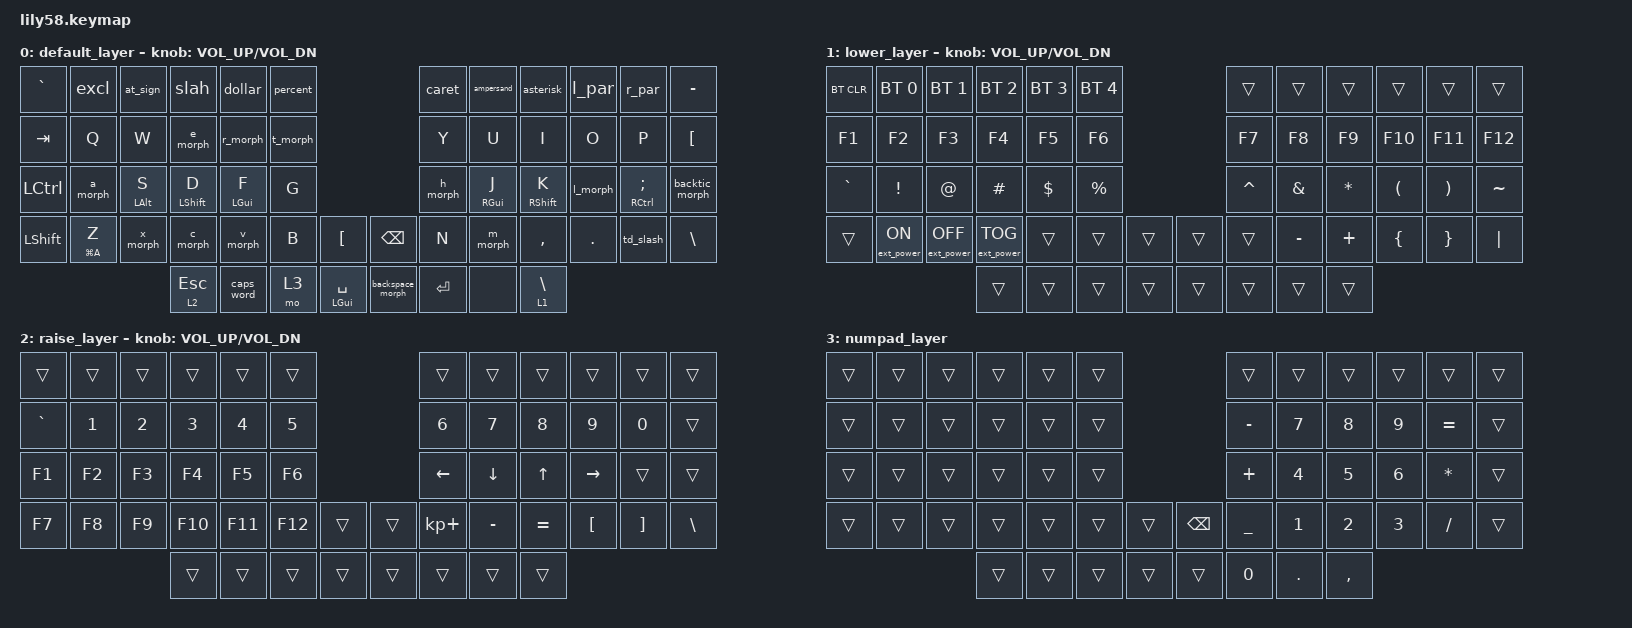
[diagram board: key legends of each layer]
/*
 * Copyright (c) 2020 The ZMK Contributors
 *
 * SPDX-License-Identifier: MIT
 */

#include <behaviors.dtsi>
#include <dt-bindings/zmk/bt.h>
#include <dt-bindings/zmk/ext_power.h>
#include <dt-bindings/zmk/keys.h>

// https://github.com/urob/zmk-config?tab=readme-ov-file#timeless-homerow-mods
// https://github.com/zmkfirmware/zmk/issues/544

#define LILY58_STANDARD_LABELS

#include "zmk-helpers/key-labels/lily58.h"

#define KEYS_L LN0 LN1 LN2 LN3 LN4 LN5 LT0 LT1 LT2 LT3 LT4 LT5 LM0 LM1 LM2 LM3 LM4 LM5 LB0 LB1 LB2 LB3 LB4 LB5 LEC
#define KEYS_R RN0 RN1 RN2 RN3 RN4 RN5 RT0 RT1 RT2 RT3 RT4 RT5 RM0 RM1 RM2 RM3 RM4 RM5 RB0 RB1 RB2 RB3 RB4 RB5 REC
#define THUMBS LH3 LH2 LH1 LH0 RH0 RH1 RH2 RH3

/ {
    combos {
        compatible = "zmk,combos";

        combo_left_bracket {
            bindings = <&kp LEFT_BRACKET>;
            key-positions = <19 20>;
            timeout-ms = <50>;
        };

        combo_right_bracket {
            bindings = <&kp RIGHT_BRACKET>;
            key-positions = <21 20>;
            timeout-ms = <50>;
        };

        combo_pipe {
            bindings = <&macro_pipe>;
            key-positions = <47 48>;
        };

        combo_chrome_tab_next {
            bindings = <&kp LC(TAB)>;
            key-positions = <16 15>;
        };

        combo_chrome_tab_prev {
            bindings = <&kp LC(LS(TAB))>;
            key-positions = <14 15>;
        };
    };

    behaviors {
        /* Left-hand HRMs. */

        hml: hml {
            compatible = "zmk,behavior-hold-tap";
            #binding-cells = <2>;
            flavor = "balanced";
            tapping-term-ms = <280>;
            quick-tap-ms = <175>;
            require-prior-idle-ms = <150>;
            bindings = <&kp>, <&kp>;

            hold-trigger-key-positions = <KEYS_R THUMBS>;
            hold-trigger-on-release;
        };

        /* Right-hand HRMs. */

        hmr: hmr {
            compatible = "zmk,behavior-hold-tap";
            #binding-cells = <2>;
            flavor = "balanced";
            tapping-term-ms = <280>;
            quick-tap-ms = <175>;
            require-prior-idle-ms = <150>;
            bindings = <&kp>, <&kp>;

            hold-trigger-key-positions = <KEYS_L THUMBS>;
            hold-trigger-on-release;
        };

        backspace_morph: backspace_morph {
            compatible = "zmk,behavior-mod-morph";
            label = "BACKSPACE_MORPH";
            bindings = <&hmr RGUI SPACE>, <&kp BACKSPACE>;

            #binding-cells = <0>;
            mods = <(MOD_LCTL|MOD_LALT)>;
            keep-mods = <(MOD_LALT)>;
        };

        td_slash: td_slash {
            compatible = "zmk,behavior-tap-dance";
            label = "TD_SLASH";
            #binding-cells = <0>;
            bindings = <&kp SLASH>, <&kp PIPE>;
        };

        backtic_morph: backtic_morph {
            compatible = "zmk,behavior-mod-morph";
            label = "BACKTIC_MORPH";
            bindings = <&kp SQT>, <&kp GRAVE>;

            #binding-cells = <0>;
            mods = <(MOD_LALT)>;
        };

        excl: n1_morph {
            compatible = "zmk,behavior-mod-morph";
            label = "EXCL";
            bindings = <&kp EXCLAMATION>, <&kp KP_NUMBER_1>;

            #binding-cells = <0>;
            mods = <(MOD_LSFT|MOD_RSFT)>;
        };

        at_sign: n2_morph {
            compatible = "zmk,behavior-mod-morph";
            label = "@";
            bindings = <&kp AT>, <&kp KP_NUMBER_2>;

            #binding-cells = <0>;
            mods = <(MOD_LSFT|MOD_RSFT)>;
        };

        slah: n3_morph {
            compatible = "zmk,behavior-mod-morph";
            label = "#";
            bindings = <&kp HASH>, <&kp KP_NUMBER_3>;

            #binding-cells = <0>;
            mods = <(MOD_LSFT|MOD_RSFT)>;
        };

        dollar: n4_morph {
            compatible = "zmk,behavior-mod-morph";
            label = "$";
            bindings = <&kp DOLLAR>, <&kp KP_NUMBER_4>;

            #binding-cells = <0>;
            mods = <(MOD_LSFT|MOD_RSFT)>;
        };

        percent: n5_morph {
            compatible = "zmk,behavior-mod-morph";
            label = "%";
            bindings = <&kp PERCENT>, <&kp KP_NUMBER_6>;

            #binding-cells = <0>;
            mods = <(MOD_LSFT|MOD_RSFT)>;
        };

        caret: n6_morph {
            compatible = "zmk,behavior-mod-morph";
            label = "^";
            bindings = <&kp CARET>, <&kp KP_NUMBER_6>;

            #binding-cells = <0>;
            mods = <(MOD_LSFT|MOD_RSFT)>;
        };

        ampersand: n7_moprh {
            compatible = "zmk,behavior-mod-morph";
            label = "&";
            bindings = <&kp AMPERSAND>, <&kp KP_NUMBER_7>;

            #binding-cells = <0>;
            mods = <(MOD_LSFT|MOD_RSFT)>;
        };

        asterisk: n8_moprh {
            compatible = "zmk,behavior-mod-morph";
            label = "*";
            bindings = <&kp STAR>, <&kp KP_NUMBER_8>;

            #binding-cells = <0>;
            mods = <(MOD_LSFT|MOD_RSFT)>;
        };

        l_par: n9_morph {
            compatible = "zmk,behavior-mod-morph";
            label = "(";
            bindings = <&kp LEFT_PARENTHESIS>, <&kp KP_NUMBER_9>;

            #binding-cells = <0>;
            mods = <(MOD_LSFT|MOD_RSFT)>;
        };

        r_par: n0_morph {
            compatible = "zmk,behavior-mod-morph";
            label = ")";
            bindings = <&kp RIGHT_PARENTHESIS>, <&kp KP_NUMBER_0>;

            #binding-cells = <0>;
            mods = <(MOD_LSFT|MOD_RSFT)>;
        };

        x_morph: x_morph {
            compatible = "zmk,behavior-mod-morph";
            label = "X_MORPH";
            bindings = <&mt LG(X) X>, <&kp LG(X)>;

            #binding-cells = <0>;
            mods = <(MOD_LCTL)>;
        };

        c_morph: c_morph {
            compatible = "zmk,behavior-mod-morph";
            label = "C_MORPH";
            bindings = <&mt LG(C) C>, <&kp LG(C)>;

            #binding-cells = <0>;
            mods = <(MOD_LCTL)>;
        };

        v_morph: v_morph {
            compatible = "zmk,behavior-mod-morph";
            label = "V_MORPH";
            bindings = <&mt LG(V) V>, <&kp LG(V)>;

            #binding-cells = <0>;
            mods = <(MOD_LCTL)>;
        };

        a_morph: a_morph {
            compatible = "zmk,behavior-mod-morph";
            label = "A_MORPH";
            bindings = <&hml LCTRL A>, <&kp LG(A)>;

            #binding-cells = <0>;
            mods = <(MOD_LCTL)>;
        };

        r_morph: r_morph {
            compatible = "zmk,behavior-mod-morph";
            label = "R_MORPH";
            bindings = <&hml LALT R>, <&kp LC(TAB)>;

            #binding-cells = <0>;
            mods = <(MOD_LCTL)>;
        };

        h_morph: h_morph {
            compatible = "zmk,behavior-mod-morph";
            label = "H_MORPH";
            bindings = <&kp H>, <&macro_vim_prev_tab>;

            #binding-cells = <0>;
            mods = <(MOD_LALT)>;
        };

        l_morph: l_morph {
            compatible = "zmk,behavior-mod-morph";
            label = "L_MORPH";
            bindings = <&hmr RALT L>, <&macro_vim_tab_next>;

            #binding-cells = <0>;
            mods = <(MOD_LALT)>;
        };

        e_morph: e_morph {
            compatible = "zmk,behavior-mod-morph";
            label = "E_MORPH";
            bindings = <&kp E>, <&kp LC(LS(TAB))>;

            #binding-cells = <0>;
            mods = <(MOD_LCTL)>;
        };

        t_morph: t_morph {
            compatible = "zmk,behavior-mod-morph";
            label = "T_MORPH";
            bindings = <&kp T>, <&kp GRAVE>;

            #binding-cells = <0>;
            mods = <(MOD_LALT|MOD_RALT)>;
        };

        m_morph: m_morph {
            compatible = "zmk,behavior-mod-morph";
            label = "M_MORPH";
            bindings = <&kp M>, <&kp RIGHT_BRACKET>;

            #binding-cells = <0>;
            mods = <(MOD_LALT|MOD_RALT)>;
        };
    };

    macros {
        macro_pipe: macro_pipe {
            compatible = "zmk,behavior-macro";
            #binding-cells = <0>;
            bindings = <&kp PIPE &kp GREATER_THAN>;
            label = "MACRO_PIPE";
        };

        macro_vim_tab_next: macro_vim_tab_next {
            compatible = "zmk,behavior-macro";
            #binding-cells = <0>;
            bindings = <&kp RIGHT_BRACKET &kp T>;
            label = "MACRO_VIM_TAB_NEXT";
        };

        macro_vim_prev_tab: macro_vim_prev_tab {
            compatible = "zmk,behavior-macro";
            #binding-cells = <0>;
            bindings = <&kp LEFT_BRACKET &kp T>;
            label = "MACRO_VIM_PREV_TAB";
        };
    };

    keymap {
        compatible = "zmk,keymap";

        default_layer {
            // ------------------------------------------------------------------------------------------------------------
            // |  ESC  |  1  |  2  |  3   |  4   |  5   |                   |  6   |  7    |  8    |  9   |   0   |   `   |
            // |  TAB  |  Q  |  W  |  E   |  R   |  T   |                   |  Y   |  U    |  I    |  O   |   P   |   -   |
            // |  CTRL |  A  |  S  |  D   |  F   |  G   |                   |  H   |  J    |  K    |  L   |   ;   |   '   |
            // | SHIFT |  Z  |  X  |  C   |  V   |  B   |   "["  |  |  "]"  |  N   |  M    |  ,    |  .   |   /   | SHIFT |
            //                     | ALT  | GUI  | LOWER|  SPACE |  | ENTER | RAISE| BSPC  | GUI   |

            bindings = <
&kp GRAVE   &excl        &at_sign     &slah          &dollar      &percent                                       &caret    &ampersand   &asterisk        &l_par      &r_par           &kp MINUS
&kp TAB     &kp Q        &kp W        &e_morph       &r_morph     &t_morph                                       &kp Y     &kp U        &kp I            &kp O       &kp P            &kp LEFT_BRACKET
&kp LCTRL   &a_morph     &hml LALT S  &hml LSHIFT D  &hml LGUI F  &kp G                                          &h_morph  &hmr RGUI J  &hmr RSHIFT K    &l_morph    &hmr RCTRL SEMI  &backtic_morph
&kp LSHIFT  &mt LG(A) Z  &x_morph     &c_morph       &v_morph     &kp B     &kp LBKT           &kp BACKSPACE     &kp N     &m_morph     &kp COMMA        &kp PERIOD  &td_slash        &kp BACKSLASH
                                      &lt 2 ESCAPE   &caps_word   &mo 3     &hml LGUI SPACE    &backspace_morph  &kp RET   &none        &lt 1 BACKSLASH
            >;

            sensor-bindings = <&inc_dec_kp C_VOL_UP C_VOL_DN>;
        };

        lower_layer {
            // ------------------------------------------------------------------------------------------------------------
            // | BTCLR | BT1 | BT2 |  BT3 |  BT4 |  BT5 |                   |      |       |       |      |       |       |
            // |  F1   |  F2 |  F3 |  F4  |  F5  |  F6  |                   |  F7  |  F8   |  F9   |  F10 |  F11  |  F12  |
            // |   `   |  !  |  @  |  #   |  $   |  %   |                   |  ^   |  &    |  *    |  (   |   )   |   ~   |
            // |       |     |     |      |      |      |        |  |       |      |  _    |  +    |  {   |   }   |  "|"  |
            //                     |      |      |      |        |  |       |      |       |       |

            bindings = <
&bt BT_CLR  &bt BT_SEL 0      &bt BT_SEL 1       &bt BT_SEL 2       &bt BT_SEL 3  &bt BT_SEL 4                    &trans     &trans     &trans     &trans    &trans    &trans
&kp F1      &kp F2            &kp F3             &kp F4             &kp F5        &kp F6                          &kp F7     &kp F8     &kp F9     &kp F10   &kp F11   &kp F12
&kp GRAVE   &kp EXCL          &kp AT             &kp HASH           &kp DOLLAR    &kp PRCNT                       &kp CARET  &kp AMPS   &kp ASTRK  &kp LPAR  &kp RPAR  &kp TILDE
&trans      &ext_power EP_ON  &ext_power EP_OFF  &ext_power EP_TOG  &trans        &trans        &trans    &trans  &trans     &kp MINUS  &kp PLUS   &kp LBRC  &kp RBRC  &kp PIPE
                                                 &trans             &trans        &trans        &trans    &trans  &trans     &trans     &trans
            >;

            sensor-bindings = <&inc_dec_kp C_VOL_UP C_VOL_DN>;
        };

        raise_layer {
            // ------------------------------------------------------------------------------------------------------------
            // |       |     |     |      |      |      |                   |      |       |       |      |       |       |
            // |   `   |  1  |  2  |  3   |  4   |  5   |                   |  6   |   7   |   8   |  9   |   0   |       |
            // |   F1  |  F2 |  F3 |  F4  |  F5  |  F6  |                   |      |   <-  |   v   |  ^   |  ->   |       |
            // |   F7  |  F8 |  F9 |  F10 |  F11 |  F12 |        |  |       |  +   |   -   |   =   |  [   |   ]   |   \   |
            //                     |      |      |      |        |  |       |      |       |       |

            bindings = <
&trans     &trans  &trans  &trans   &trans   &trans                     &trans       &trans     &trans     &trans     &trans    &trans
&kp GRAVE  &kp N1  &kp N2  &kp N3   &kp N4   &kp N5                     &kp N6       &kp N7     &kp N8     &kp N9     &kp N0    &trans
&kp F1     &kp F2  &kp F3  &kp F4   &kp F5   &kp F6                     &kp LEFT     &kp DOWN   &kp UP     &kp RIGHT  &trans    &trans
&kp F7     &kp F8  &kp F9  &kp F10  &kp F11  &kp F12  &trans    &trans  &kp KP_PLUS  &kp MINUS  &kp EQUAL  &kp LBKT   &kp RBKT  &kp BSLH
                           &trans   &trans   &trans   &trans    &trans  &trans       &trans     &trans
            >;

            sensor-bindings = <&inc_dec_kp C_VOL_UP C_VOL_DN>;
        };

        numpad_layer {
            bindings = <
&trans  &trans  &trans  &trans  &trans  &trans                           &trans     &trans   &trans     &trans  &trans        &trans
&trans  &trans  &trans  &trans  &trans  &trans                           &kp MINUS  &kp N7   &kp N8     &kp N9  &kp EQUAL     &trans
&trans  &trans  &trans  &trans  &trans  &trans                           &kp PLUS   &kp N4   &kp N5     &kp N6  &kp ASTERISK  &trans
&trans  &trans  &trans  &trans  &trans  &trans  &trans    &kp BACKSPACE  &kp UNDER  &kp N1   &kp N2     &kp N3  &kp FSLH      &trans
                        &trans  &trans  &trans  &trans    &trans         &kp N0     &kp DOT  &kp COMMA
            >;
        };
    };
};
